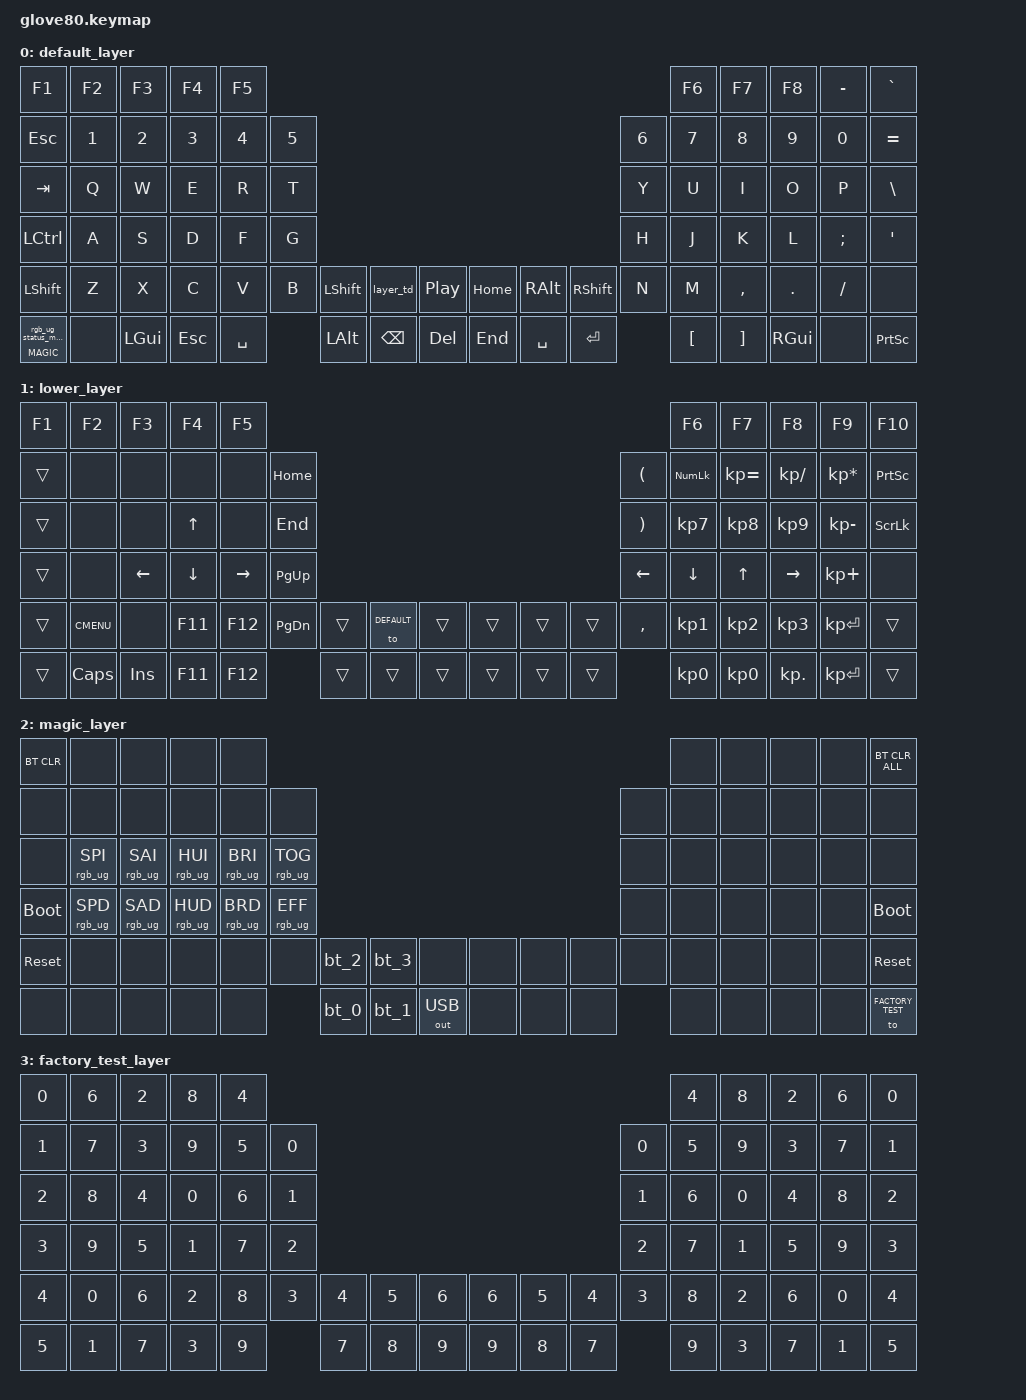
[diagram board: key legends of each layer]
/*
 * Copyright (c) 2020 The ZMK Contributors
 *
 * SPDX-License-Identifier: MIT
 */

#include <behaviors.dtsi>
#include <dt-bindings/zmk/keys.h>
#include <dt-bindings/zmk/bt.h>
#include <dt-bindings/zmk/ext_power.h>
#include <dt-bindings/zmk/outputs.h>
#include <dt-bindings/zmk/rgb.h>

#define HYPER LC(LS(LG(LALT)))

// layers
#define DEFAULT 0
#define LOWER 1
#define MAGIC 2
#define FACTORY_TEST 3

/ {
    behaviors {
        // For the "layer" key, it'd nice to be able to use it as either a shift or a toggle.
        // Configure it as a tap dance, so the first tap (or hold) is a &mo and the second tap is a &to
        layer_td: tap_dance_0 {
            compatible = "zmk,behavior-tap-dance";
            label = "LAYER_TAP_DANCE";
            #binding-cells = <0>;
            tapping-term-ms = <200>;
            bindings = <&mo LOWER>, <&to LOWER>;
        };

        magic: magic_hold_tap {
            compatible = "zmk,behavior-hold-tap";
            label = "MAGIC_HOLD_TAP";
            #binding-cells = <2>;
            flavor = "tap-preferred";
            tapping-term-ms = <200>;
            bindings = <&mo>, <&rgb_ug_status_macro>;
        };
    };

    macros {
        rgb_ug_status_macro: rgb_ug_status_macro_0 {
            label = "RGB_UG_STATUS";
            compatible = "zmk,behavior-macro";
            #binding-cells = <0>;
            bindings
                = <&rgb_ug RGB_STATUS>;
        };

        bt_0: bt_profile_macro_0 {
            label = "BT_0";
            compatible = "zmk,behavior-macro";
            #binding-cells = <0>;
            bindings
                = <&out OUT_BLE>,
                  <&bt BT_SEL 0>;
        };

        bt_1: bt_profile_macro_1 {
            label = "BT_1";
            compatible = "zmk,behavior-macro";
            #binding-cells = <0>;
            bindings
                = <&out OUT_BLE>,
                  <&bt BT_SEL 1>;
        };

        bt_2: bt_profile_macro_2 {
            label = "BT_2";
            compatible = "zmk,behavior-macro";
            #binding-cells = <0>;
            bindings
                = <&out OUT_BLE>,
                  <&bt BT_SEL 2>;
        };

        bt_3: bt_profile_macro_3 {
            label = "BT_3";
            compatible = "zmk,behavior-macro";
            #binding-cells = <0>;
            bindings
                = <&out OUT_BLE>,
                  <&bt BT_SEL 3>;
        };
    };

    keymap {
        compatible = "zmk,keymap";

        default_layer {
            // ---------------------------------------------------------------------------------------------------------------------------------
            // |  F1   |  F2 |  F3 |  F4  |  F5  |                                                               |  F6   |  F7   |  F8  |   -   |   `  |
            // |  ESC  |  1  |  2  |  3   |  4   |  5   |                                                 |  6   |   7   |   8   |  9   |   0   |   =  |
            // |  TAB  |  Q  |  W  |  E   |  R   |  T   |                                                 |  Y   |   U   |   I   |  O   |   P   |   \  |
            // | LCTRL |  A  |  S  |  D   |  F   |  G   |                                                 |  H   |   J   |   K   |  L   |   ;   |   '  |
            // | LSHFT |  Z  |  X  |  C   |  V   |  B   | LSHFT | LOWER   | C_PP | | HOME | RALT  | RSHFT |  N   |   M   |   ,   |  .   |   /   |      |
            // | MAGIC |     | LGUI| ESC  | SPACE|      | LALT  | BSPC    | DEL  | | END  | SPACE | RET   |      |   [   |   ]   | RGUI |       | PSCRN|

            bindings = <
            &kp F1         &kp F2   &kp F3      &kp F4      &kp F5                                                                                         &kp F6   &kp F7     &kp F8      &kp MINUS   &kp GRAVE
            &kp ESC        &kp N1   &kp N2      &kp N3      &kp N4      &kp N5                                                                     &kp N6  &kp N7   &kp N8     &kp N9      &kp N0      &kp EQUAL
            &kp TAB        &kp Q    &kp W       &kp E       &kp R       &kp T                                                                      &kp Y   &kp U    &kp I      &kp O       &kp P       &kp BSLH
            &kp LCTRL      &kp A    &kp S       &kp D       &kp F       &kp G                                                                      &kp H   &kp J    &kp K      &kp L       &kp SEMI    &kp SQT
            &kp LSHFT      &kp Z    &kp X       &kp C       &kp V       &kp B   &kp LSHFT   &layer_td   &kp C_PP   &kp HOME  &kp RALT  &kp RSHFT   &kp N   &kp M    &kp COMMA  &kp DOT     &kp FSLH    &none
            &magic MAGIC 0 &none    &kp LGUI    &kp ESC     &kp SPACE           &kp LALT    &kp BSPC    &kp DEL    &kp END   &kp SPACE &kp RET             &kp LBKT &kp RBKT   &kp RGUI    &none       &kp PSCRN
            >;
        };

        lower_layer {
            bindings = <
         // &kp C_BRI_DN      &kp C_BRI_UP        &kp C_PREV      &kp C_NEXT      &kp C_PP                                                                                                           &kp C_MUTE   &kp C_VOL_DN &kp C_VOL_UP  &none           &kp PAUSE_BREAK
            &kp F1            &kp F2              &kp F3          &kp F4          &kp F5                                                                                                             &kp F6       &kp F7       &kp F8        &kp F9          &kp F10
            &trans            &none               &none           &none           &none           &kp HOME                                                                              &kp LPAR     &kp KP_NUM   &kp KP_EQUAL &kp KP_DIVIDE &kp KP_MULTIPLY &kp PSCRN
            &trans            &none               &none           &kp UP          &none           &kp END                                                                               &kp RPAR     &kp KP_N7    &kp KP_N8    &kp KP_N9     &kp KP_MINUS    &kp SLCK
            &trans            &none               &kp LEFT        &kp DOWN        &kp RIGHT       &kp PG_UP                                                                             &kp LEFT     &kp DOWN     &kp UP       &kp RIGHT     &kp KP_PLUS     &none
            &trans            &kp K_CMENU         &none           &kp F11         &kp F12         &kp PG_DN       &trans      &to DEFAULT &trans      &trans      &trans      &trans    &kp COMMA    &kp KP_N1    &kp KP_N2    &kp KP_N3     &kp KP_ENTER    &trans
            &trans            &kp CAPS            &kp INS         &kp F11         &kp F12                         &trans      &trans      &trans      &trans      &trans      &trans                 &kp KP_N0    &kp KP_N0    &kp KP_DOT    &kp KP_ENTER    &trans
            >;
        };

        magic_layer {
            bindings = <
            &bt BT_CLR        &none               &none           &none           &none                                                                                                           &none      &none      &none      &none      &bt BT_CLR_ALL
            &none             &none               &none           &none           &none           &none                                                                                &none      &none      &none      &none      &none      &none
            &none             &rgb_ug RGB_SPI     &rgb_ug RGB_SAI &rgb_ug RGB_HUI &rgb_ug RGB_BRI &rgb_ug RGB_TOG                                                                      &none      &none      &none      &none      &none      &none
            &bootloader       &rgb_ug RGB_SPD     &rgb_ug RGB_SAD &rgb_ug RGB_HUD &rgb_ug RGB_BRD &rgb_ug RGB_EFF                                                                      &none      &none      &none      &none      &none      &bootloader
            &sys_reset        &none               &none           &none           &none           &none           &bt_2     &bt_3     &none            &none     &none     &none       &none      &none      &none      &none      &none      &sys_reset
            &none             &none               &none           &none           &none                           &bt_0     &bt_1     &out OUT_USB     &none     &none     &none                  &none      &none      &none      &none      &to FACTORY_TEST
            >;
        };

        factory_test_layer {
            bindings = <
            &kp N0   &kp N6   &kp N2   &kp N8   &kp N4                                                                              &kp N4   &kp N8   &kp N2   &kp N6   &kp N0
            &kp N1   &kp N7   &kp N3   &kp N9   &kp N5   &kp N0                                                            &kp N0   &kp N5   &kp N9   &kp N3   &kp N7   &kp N1
            &kp N2   &kp N8   &kp N4   &kp N0   &kp N6   &kp N1                                                            &kp N1   &kp N6   &kp N0   &kp N4   &kp N8   &kp N2
            &kp N3   &kp N9   &kp N5   &kp N1   &kp N7   &kp N2                                                            &kp N2   &kp N7   &kp N1   &kp N5   &kp N9   &kp N3
            &kp N4   &kp N0   &kp N6   &kp N2   &kp N8   &kp N3   &kp N4   &kp N5   &kp N6      &kp N6   &kp N5   &kp N4   &kp N3   &kp N8   &kp N2   &kp N6   &kp N0   &kp N4
            &kp N5   &kp N1   &kp N7   &kp N3   &kp N9            &kp N7   &kp N8   &kp N9      &kp N9   &kp N8   &kp N7            &kp N9   &kp N3   &kp N7   &kp N1   &kp N5
            >;
        };
    };
};
